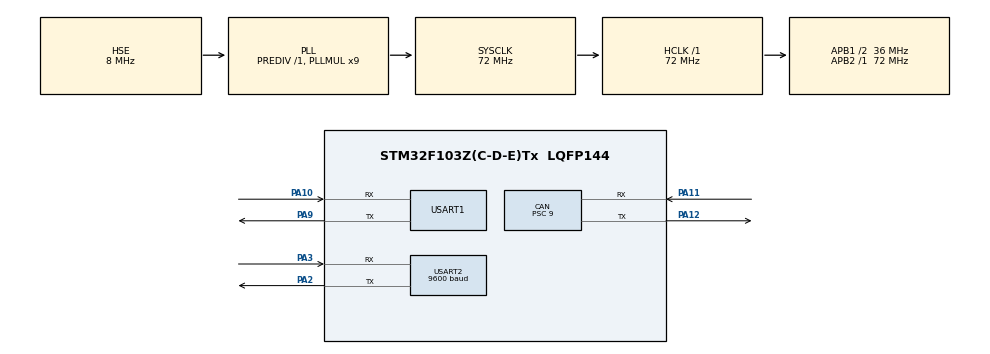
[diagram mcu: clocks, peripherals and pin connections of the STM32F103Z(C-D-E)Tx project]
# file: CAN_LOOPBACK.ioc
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CAN.BS1=CAN_BS1_5TQ
CAN.BS2=CAN_BS2_2TQ
CAN.CalculateBaudRate=500000
CAN.CalculateTimeBit=2000.00
CAN.CalculateTimeQuantum=250.0
CAN.Mode=CAN_MODE_LOOPBACK
CAN.Prescaler=9
Mcu.Family=STM32F1
Mcu.Name=STM32F103Z(C-D-E)Tx
Mcu.Package=LQFP144
NVIC.PriorityGroup=NVIC_PRIORITYGROUP_4
NVIC.USB_LP_CAN1_RX0_IRQn=true\:0\:0\:false\:false\:true\:true\:true
OSC_IN.Mode=HSE-External-Oscillator
OSC_IN.Signal=RCC_OSC_IN
OSC_OUT.Mode=HSE-External-Oscillator
OSC_OUT.Signal=RCC_OSC_OUT
PA10.Mode=Asynchronous
PA10.Signal=USART1_RX
PA11.Mode=CAN_Activate
PA11.Signal=CAN_RX
PA12.Mode=CAN_Activate
PA12.Signal=CAN_TX
PA13.Mode=Serial_Wire
PA13.Signal=SYS_JTMS-SWDIO
PA14.Mode=Serial_Wire
PA14.Signal=SYS_JTCK-SWCLK
PA2.Mode=Asynchronous
PA2.Signal=USART2_TX
PA3.Mode=Asynchronous
PA3.Signal=USART2_RX
PA9.Mode=Asynchronous
PA9.Signal=USART1_TX
ProjectManager.HeapSize=0x200
ProjectManager.StackSize=0x400
ProjectManager.TargetToolchain=MDK-ARM V5
RCC.AHBFreq_Value=72000000
RCC.APB1CLKDivider=RCC_HCLK_DIV2
RCC.APB1Freq_Value=36000000
RCC.APB1TimFreq_Value=72000000
RCC.APB2Freq_Value=72000000
RCC.APB2TimFreq_Value=72000000
RCC.HCLKFreq_Value=72000000
RCC.PLLMUL=RCC_PLL_MUL9
RCC.PLLSourceVirtual=RCC_PLLSOURCE_HSE
RCC.SYSCLKFreq_VALUE=72000000
RCC.SYSCLKSource=RCC_SYSCLKSOURCE_PLLCLK
RCC.USBFreq_Value=72000000
USART1.VirtualMode=VM_ASYNC
USART2.BaudRate=9600
USART2.VirtualMode=VM_ASYNC
board=custom

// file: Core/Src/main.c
/* ★ 2026-09-23 块D Day③ 核对版（可直接替换工程 Core\Src\main.c）
   相对原版的两处修正：
   1) HAL_Delay(1000) -> rx_count += DrainRx(1000) 并挪到 [STAT] 之前
      —— 命令帧不再憋 1 秒，收到立即回帧；命令帧也计入 rx 统计
   2) 整理 case 0x200 缩进、更新过时注释（不影响功能）
*/
#include "main.h"
#include "can.h"
#include "usart.h"
#include "gpio.h"

/* USER CODE BEGIN Includes */
#include <stdio.h>
#include <stdint.h>
#include <string.h>
#include <stdlib.h>
#include "gps_nmea.h"
/* USER CODE END Includes */

/* USER CODE BEGIN PV */
//新增结构体
typedef struct {
    float   lat;        /* 0x100 纬度    float  小端          */
    float   lon;        /* 0x101 经度    float  小端          */
    int16_t speed;      /* 0x102 车速    int16  大端 km/h     */
    int16_t temp_x10;   /* 0x103 温度x10 int16  大端 285=28.5C */
    int16_t acc_x;      /* 0x104 加速度X  int16 大端 0.01g    */
    int16_t acc_y;      /* 0x105 加速度Y  int16 大端 0.01g    */
    int16_t acc_z;      /* 0x106 加速度Z  int16 大端 0.01g    */
    uint8_t sat_num;    /* 0x107 数据[0] 卫星数               */
    uint8_t alarm_flag; /* 0x107 数据[1] 告警标志              */
}VehicleData;

static VehicleData g_vehicle = { 23.123456f, 113.123456f, 60, 285, 0, 0, 0, 8, 0 };
/* USER CODE END PV */

void SystemClock_Config(void);

/* USER CODE BEGIN PFP */
// ==================== 声明工具函数 ====================
void ShowFloatBytes(const char *name, float v);

uint8_t PackFloatLE(float v, uint8_t *out);
uint8_t PackInt16LE(int16_t v, uint8_t *out);
uint8_t PackInt16BE(int16_t v, uint8_t *out);

float UnpackFloatLE(const uint8_t *in);
float UnpackFloatLE_WRONG(const uint8_t *in);
int16_t UnpackInt16LE(const uint8_t *in);
int16_t UnpackInt16BE(const uint8_t *in);

void TestPackUnpack(void);

// ==================== CAN 驱动层函数（★ 新增声明）====================
// DrainRx 和下面四个发送函数都要用到它们，先声明再定义，避免隐式声明
uint8_t CAN_Send(uint32_t id, uint8_t *data, uint8_t len);
uint8_t CAN_PollReceive(void);

// ==================== 声明协议发送函数 (块E day1 ：改为无参直读 g_vehicle)====================
uint8_t CAN_SendLatitude(void);                          /* 0x100 float 小端      */
uint8_t CAN_SendLongitude(void);                         /* 0x101 float 小端      */
uint8_t CAN_SendSpeed(void);                             /* 0x102 int16 大端      */
uint8_t CAN_SendTempX10(void);                           /* 0x103 int16 大端 x10  */
uint8_t CAN_SendAccAxis(uint32_t id, int16_t acc_g100);  /* 0x104/105/106 共用    */
uint8_t CAN_SendSatInfo(void);                           /* 0x107 卫星数+告警标志 */
uint8_t CAN_ReportGps(void);                             /* 1秒组 4帧             */
uint8_t CAN_ReportAcc(void);                             /* 100ms组 3帧(Day②用)   */
uint8_t CAN_ReportAll(void);                             /* 整包 8帧              */
void Sensor_Update(void);                                /* 模拟数据源(KP-E7)     */
// ==================== ★ Day② 新增: 数据源分档 + 按键 + 告警 ====================
void Key_Init(void);                //KEY0=PE4输入
void UpdateGps(void);               /* 下面三个改由 main 调度直接调 */
void UpdateAcc(void);
void UpdateTemp(void);
uint8_t CAN_SendAlarm(int16_t acc_g100);         /* 0x300 事件帧 */

// ==================== 声明接收解析函数 ====================
void CAN_ProcessRx(CAN_RxHeaderTypeDef *rx_header, uint8_t *rx_data);
/* USER CODE END PFP */

/* USER CODE BEGIN 0 */
// ==================== 实验开关 ====================
#define FILTER_GPS_ONLY   0      /* 0 = 过滤器全通过（块D 用）；1 = 只放行 0x100~0x103 */
#define RX_PRINT_FULL     1      /* 1 = 完整打印（约 5ms/行）；0 = 精简打印（约 2.2ms/行）*/
#define GPS_TEST          1      /* ★块F: 1 = GPS透传测试(USART2收->USART1打); 0 = 恢复正常CAN业务 */

// ==================== 重定向 printf 到 UART1 ====================
int fputc(int ch, FILE *f)
{
    HAL_UART_Transmit(&huart1, (uint8_t *)&ch, 1, 100);
    return ch;
}

CAN_TxHeaderTypeDef tx_header;

uint32_t tx_mailbox;
/* ★ 旧散装全局 g_lat/g_lon/g_spd/g_tmp 已删除 —— 状态统一在 PV 区的 g_vehicle 里 */

void CAN_Start(void)
{
    CAN_FilterTypeDef filter = {0};      /* ★ 必须清零：FilterBank 也要有确定值 */

    filter.FilterBank           = 0;
    filter.FilterMode           = CAN_FILTERMODE_IDMASK;        /* 掩码模式 */
    filter.FilterScale          = CAN_FILTERSCALE_32BIT;        /* 32 位 */
    filter.FilterFIFOAssignment = CAN_RX_FIFO0;
    filter.FilterActivation     = ENABLE;                       /* 漏了它 = 一帧都收不到 */
    filter.SlaveStartFilterBank = 14;

    if (FILTER_GPS_ONLY) {
        filter.FilterIdHigh     = (0x100 << 5);   /* = 0x2000  期望 ID = 0x100 */
        filter.FilterMaskIdHigh = (0x7FC << 5);   /* = 0xFF80  比较 bit10~bit2 */
    } else {
        filter.FilterIdHigh     = 0x0000;
        filter.FilterMaskIdHigh = 0x0000;         /* 掩码全 0 -> 全放行 */
    }
    filter.FilterIdLow      = 0x0000;             /* 32 位模式下标准帧只用 High 这半 */
    filter.FilterMaskIdLow  = 0x0000;
    /* ★ 每个字段只赋值一次：老代码里那四行重复的全 0 赋值会把上面 FILTER_GPS_ONLY
       的结果覆盖回「全通过」——已经删掉，别再抄回来。 */

    if (HAL_CAN_ConfigFilter(&hcan, &filter) != HAL_OK) {
        printf("[ERR] ConfigFilter failed\r\n");
        Error_Handler();                 /* 配不上就别往下跑，否则后面全是假现象 */
    }
    if (HAL_CAN_Start(&hcan) != HAL_OK) {
        printf("[ERR] CAN_Start failed!\r\n");
        Error_Handler();
    }

    printf("\r\n===== CAN_LOOPBACK | Mode=%s | Filter=%s | Built %s %s =====\r\n",
           (hcan.Init.Mode == CAN_MODE_LOOPBACK) ? "LOOPBACK" : "NORMAL",
           (filter.FilterActivation == ENABLE) ? "ENABLE" : "DISABLE",
           __DATE__, __TIME__);

    printf("[INIT] IER=0x%08lX BTR=0x%08lX RF0R=0x%08lX\r\n",
           hcan.Instance->IER, hcan.Instance->BTR, hcan.Instance->RF0R);

    printf("Filter: IdHigh=0x%04X MaskHigh=0x%04X -> %s\r\n",
           filter.FilterIdHigh, filter.FilterMaskIdHigh,
           (filter.FilterMaskIdHigh == 0) ? "PASS-ALL" : "ONLY 0x100~0x103");
}

uint8_t CAN_Send(uint32_t id, uint8_t *data, uint8_t len)
{
    if (len > 8) return 1;

    tx_header.StdId = id;
    tx_header.IDE   = CAN_ID_STD;
    tx_header.RTR   = CAN_RTR_DATA;
    tx_header.DLC   = len;

    uint32_t t0 = HAL_GetTick();
    while (HAL_CAN_GetTxMailboxesFreeLevel(&hcan) == 0) {
        if (HAL_GetTick() - t0 > 10) {
            printf("[CAN] Mailbox full!\r\n");
            return 1;
        }
    }

    return (HAL_CAN_AddTxMessage(&hcan, &tx_header, data, &tx_mailbox) == HAL_OK) ? 0 : 1;
}

uint8_t CAN_PollReceive(void)
{
    CAN_RxHeaderTypeDef rx_header;
    uint8_t rx_data[8];

    if (HAL_CAN_GetRxFifoFillLevel(&hcan, CAN_RX_FIFO0) == 0)
        return 0;

    if (HAL_CAN_GetRxMessage(&hcan, CAN_RX_FIFO0, &rx_header, rx_data) != HAL_OK)
        return 0;

    // 收到数据后调用解析函数处理
    CAN_ProcessRx(&rx_header, rx_data);
    return 1;
}

/* ================= 接收节奏：在 ms 毫秒内把 FIFO 取空 =================
 * ★ 位置：必须放在 CAN_PollReceive() 之后（上一版放在最前面 -> 隐式声明报错）
 * 用法：发一帧 -> DrainRx(3) -> 再发下一帧
 * 这样任何时刻 FIFO0 里最多只有 1 帧，永远撞不到「3 格满 -> 硬件静默丢帧」。
 */
static uint8_t DrainRx(uint32_t ms)
{
    uint8_t  n  = 0;
    uint32_t t0 = HAL_GetTick();
    while (HAL_GetTick() - t0 < ms) {
        if (CAN_PollReceive() != 0) n++;
        else HAL_Delay(1);
    }
    return n;
}
/* ==================== ★ Day② 新增: KEY0 与急刹判据 ==================== */

/* KEY0 = PE4, 按下=低。★ 工程原本只开了 GPIOA 时钟, PE 必须自己开!
   (不调 Key_Init 就读 PE4: GPIOE 时钟未开读回 0 = 被当成"永远按下") */

void Key_Init(void)
{
    __HAL_RCC_GPIOE_CLK_ENABLE();

    GPIO_InitTypeDef g = {0};
    g.Pin   = GPIO_PIN_4;
    g.Mode  = GPIO_MODE_INPUT;
    g.Pull  = GPIO_PULLUP;      //按下低电平
    HAL_GPIO_Init(GPIOE,&g);
}

#if !GPS_TEST
/* 整数开方(牛顿迭代) —— 免 math.h 依赖, 合加速度 = √(x²+y²+z²) */
static int32_t isqrt32(int32_t x)
{
    int32_t r = x;
    if (x <= 0) return 0;
    for (;;) {
        int32_t nr = (r + x / r) / 2;
        if (nr >= r) return r;          /* 收敛到 floor(sqrt(x)) */
        r = nr;
    }
}

/* 急刹判据: 返回合加速度平方(单位 (0.01g)²)。
   >1.8g  ⟺  平方和 > 180² = 32400 (不开方就能判, 嵌入式常用技巧)
   KEY0 按下 = 强制注入 -2.00g, 验收时按一下必出告警 */
static int32_t BrakeAccSq100(void)
{
    if (HAL_GPIO_ReadPin(GPIOE, GPIO_PIN_4) == GPIO_PIN_RESET) {
        g_vehicle.acc_x = -200;         /* 注入 -2.00g */
    }
    return (int32_t)g_vehicle.acc_x * g_vehicle.acc_x
         + (int32_t)g_vehicle.acc_y * g_vehicle.acc_y
         + (int32_t)g_vehicle.acc_z * g_vehicle.acc_z;
}
#endif /* !GPS_TEST: 透传模式下 CAN 调度不编译, 两个 static 函数无引用 */

/* USER CODE END 0 */

int main(void)
{

  HAL_Init();

  SystemClock_Config();

  MX_GPIO_Init();
  /* ★排错探针1: 点亮LED0(PB5) —— 灯亮 = HAL_Init/SystemClock/GPIO 全部活着 */
  __HAL_RCC_GPIOB_CLK_ENABLE();
  {
    GPIO_InitTypeDef led = {0};
    led.Pin = GPIO_PIN_5; led.Mode = GPIO_MODE_OUTPUT_PP; led.Speed = GPIO_SPEED_FREQ_LOW;
    HAL_GPIO_Init(GPIOB, &led);
    HAL_GPIO_WritePin(GPIOB, GPIO_PIN_5, GPIO_PIN_RESET);   /* 低电平亮 */
  }
  MX_CAN_Init();
  MX_USART1_UART_Init();
  printf("p1: usart1 ok\r\n");
  MX_USART2_UART_Init();
  printf("p2: usart2 ok\r\n");

  /* USER CODE BEGIN 2 */
  CAN_Start();
    printf("=== CAN Sensor Node ((multi-rate + alarm)) ===\r\n");

  // 执行打包解包测试
  TestPackUnpack();
  TestNmea();
  Key_Init();               /* ★ KEY0 就绪(必须在读 PE4 之前) */

  #if GPS_TEST
  GPS_UART_Init(&huart2);   /* ★块G Day50:启动GPS串口中断接收 */
#endif

   /* ★ 分周期调度的状态变量 —— 必须放在 while(1) 之前! */
#if !GPS_TEST
  uint32_t t_acc = 0,t_gps = 0,t_temp = 0;  /* 三档节拍 */
  uint32_t t_alarm = 0,t_stat = 0;          /* 告警冷却 / 统计节拍 */
  uint8_t  err_gps = 0,err_acc = 0,err_tmp = 0;     /* 本秒发送错误累计 */
  int      rx_cnt  = 0;
#endif

  /* USER CODE END 2 */

  /* Infinite loop */
  /* USER CODE BEGIN WHILE */
  while (1)
        {
#if GPS_TEST
    /* ---- ★块F GPS透传测试: USART2(9600)收到什么, 原样从 USART1(115200) 打出 ---- */
            char line[100];
    if (GPS_PopLine(line, sizeof(line))) {
        printf("RAW:%s\r\n", line);          /* 原始语句:人工对数用 */
        GPS_ParseLine(line);
        printf("[GPS] valid=%d lat=%.6f lon=%.6f spd=%.1f sat=%d\r\n",
               g_gps.valid, g_gps.latitude, g_gps.longitude,
               g_gps.speed_kmh, g_gps.satellites);
    }
#else
    uint32_t now = HAL_GetTick();                   /* ★ 时间基准每圈取一次 */

    /* ---- 100ms 档: 加速度 3 帧 ---- */
    if (now - t_acc >= 100) {
        t_acc = now;
        UpdateAcc();
        err_acc |= CAN_ReportAcc();
    }

    /* ---- 1s 档: GPS类 + 车速 + 卫星 4 帧 ---- */
    if (now - t_gps >= 1000) {
        t_gps = now;
        UpdateGps();
        printf("[TX] lat=%.6f lon=%.6f spd=%d sat=%d flag=%d\r\n",
               g_vehicle.lat, g_vehicle.lon, g_vehicle.speed,
               g_vehicle.sat_num, g_vehicle.alarm_flag);
        err_gps |= CAN_ReportGps();
    }

    /* ---- 2s 档: 温度 1 帧 ---- */
    if (now - t_temp >= 2000) {
        t_temp = now;
        UpdateTemp();
        if (CAN_SendTempX10() != 0) err_tmp = 1;
        DrainRx(3);
    }

    /* ---- 事件档: 急刹 → 0x300(平时不发, KP-E5); 1 秒冷却防连发 ---- */
    int32_t sq = BrakeAccSq100();
    if (sq > 32400L && (now - t_alarm >= 1000)) {
        t_alarm = now;
        g_vehicle.alarm_flag = 1;
        CAN_SendAlarm((int16_t)isqrt32(sq));
        printf("[ALARM] 0x300 sent, acc=%d.%02dg\r\n", isqrt32(sq) / 100, isqrt32(sq) % 100);
    }
    if (g_vehicle.alarm_flag != 0 && (now - t_alarm >= 5000)) {
        g_vehicle.alarm_flag = 0;                   /* 告警标志 5 秒后自动清除 */
    }

    /* ---- 接收窗口常开: 0x200 命令随到随回 ---- */
    rx_cnt += DrainRx(1);

    /* ---- 每秒一次统计(替代原 [STAT] 节奏) ---- */
    if (now - t_stat >= 1000) {
        t_stat = now;
        printf("[STAT] rx=%d err_gps=0x%02X err_acc=0x%02X err_tmp=%u\r\n",
               rx_cnt, err_gps, err_acc, err_tmp);
        rx_cnt = 0; err_gps = 0; err_acc = 0; err_tmp = 0;
    }
#endif
  }
  /* USER CODE END WHILE */

}

void SystemClock_Config(void)
{
  RCC_OscInitTypeDef RCC_OscInitStruct = {0};
  RCC_ClkInitTypeDef RCC_ClkInitStruct = {0};

  RCC_OscInitStruct.OscillatorType = RCC_OSCILLATORTYPE_HSE;
  RCC_OscInitStruct.HSEState = RCC_HSE_ON;
  RCC_OscInitStruct.HSEPredivValue = RCC_HSE_PREDIV_DIV1;
  RCC_OscInitStruct.HSIState = RCC_HSI_ON;
  RCC_OscInitStruct.PLL.PLLState = RCC_PLL_ON;
  RCC_OscInitStruct.PLL.PLLSource = RCC_PLLSOURCE_HSE;
  RCC_OscInitStruct.PLL.PLLMUL = RCC_PLL_MUL9;
  if (HAL_RCC_OscConfig(&RCC_OscInitStruct) != HAL_OK) { Error_Handler(); }

  RCC_ClkInitStruct.ClockType = RCC_CLOCKTYPE_HCLK | RCC_CLOCKTYPE_SYSCLK |
                                RCC_CLOCKTYPE_PCLK1 | RCC_CLOCKTYPE_PCLK2;
  RCC_ClkInitStruct.SYSCLKSource   = RCC_SYSCLKSOURCE_PLLCLK;
  RCC_ClkInitStruct.AHBCLKDivider  = RCC_SYSCLK_DIV1;
  RCC_ClkInitStruct.APB1CLKDivider = RCC_HCLK_DIV2;
  RCC_ClkInitStruct.APB2CLKDivider = RCC_HCLK_DIV1;
  if (HAL_RCC_ClockConfig(&RCC_ClkInitStruct, FLASH_LATENCY_2) != HAL_OK) { Error_Handler(); }
}

/* USER CODE BEGIN 4 */
// ==================== 协议发送层(KP-E1/E2: 直读 g_vehicle, 无参) ====================
// 0x100 纬度 (4B float 小端)
uint8_t CAN_SendLatitude(void)
{
    uint8_t data[8] = {0};
    PackFloatLE(g_vehicle.lat, data);
    return CAN_Send(0x100, data, 4);
}

// 0x101 经度 (4B float 小端)
uint8_t CAN_SendLongitude(void)
{
    uint8_t data[8] = {0};
    PackFloatLE(g_vehicle.lon, data);
    return CAN_Send(0x101, data, 4);
}

// 0x102 车速 (2B int16 大端)
uint8_t CAN_SendSpeed(void)
{
    uint8_t data[8] = {0};
    PackInt16BE(g_vehicle.speed, data);
    return CAN_Send(0x102, data, 2);
}

// 0x103 温度 (2B int16 大端, 结构体里已是 x10 整数, 不再四舍五入)
uint8_t CAN_SendTempX10(void)
{
    uint8_t data[8] = {0};
    PackInt16BE(g_vehicle.temp_x10, data);
    return CAN_Send(0x103, data, 2);
}

// 0x104/0x105/0x106 加速度 XYZ 共用 (2B int16 大端, 单位 0.01g)
uint8_t CAN_SendAccAxis(uint32_t id, int16_t acc_g100)
{
    uint8_t data[8] = {0};
    PackInt16BE(acc_g100, data);
    return CAN_Send(id, data, 2);
}

// 0x107 卫星数 + 告警标志 (2B: data[0]=卫星数, data[1]=标志)
uint8_t CAN_SendSatInfo(void)
{
    uint8_t data[8] = {0};
    data[0] = g_vehicle.sat_num;
    data[1] = g_vehicle.alarm_flag;
    return CAN_Send(0x107, data, 2);
}

// ★ 0x300 告警帧 (2B int16 大端, 数据 = 合加速度 x100) —— 事件触发, KP-E5
uint8_t CAN_SendAlarm(int16_t acc_g100)
{
    uint8_t data[8] = {0};
    PackInt16BE(acc_g100,data);
    return CAN_Send(0x300,data,2);
}

// ==================== ★ 分组上报(KP-E6) ====================

/* 1 秒组 4 帧: 0x100/0x101/0x102/0x107 —— 返回错误位图 bit0~3 */
uint8_t CAN_ReportGps(void)
{
    uint8_t err = 0;
    if (CAN_SendLatitude()  != 0) err |= (1U << 0);
    DrainRx(3);                                   /* 帧间隔 + FIFO防积压(KP-E3) */
    if (CAN_SendLongitude() != 0) err |= (1U << 1);
    DrainRx(3);
    if (CAN_SendSpeed()     != 0) err |= (1U << 2);
    DrainRx(3);
    if (CAN_SendSatInfo()   != 0) err |= (1U << 3);
    DrainRx(3);
    return err;
}

/* 100ms 组 3 帧: 0x104/0x105/0x106 —— 返回错误位图 bit0~2 (Day② 调度用) */
uint8_t CAN_ReportAcc(void)
{
    uint8_t err = 0;
    if (CAN_SendAccAxis(0x104, g_vehicle.acc_x) != 0) err |= (1U << 0);
    DrainRx(3);
    if (CAN_SendAccAxis(0x105, g_vehicle.acc_y) != 0) err |= (1U << 1);
    DrainRx(3);
    if (CAN_SendAccAxis(0x106, g_vehicle.acc_z) != 0) err |= (1U << 2);
    DrainRx(3);
    return err;
}

/* ★ 整包 8 帧: bit0~3=GPS组, bit4=温度, bit5~7=加速度组 */
uint8_t CAN_ReportAll(void)
{
    uint8_t err = CAN_ReportGps();
    if (CAN_SendTempX10() != 0) err |= (1U << 4);
    DrainRx(3);
    err |= (uint8_t)(CAN_ReportAcc() << 5);
    return err;
}

// ==================== ★ 模拟数据源(KP-E7: Day46 换真传感器只动这一段) ====================

void UpdateGps(void)
{
    g_vehicle.lat += (rand() % 10 - 5) / 100000.0f;   /* ±0.00005 漂移 */
    g_vehicle.lon += (rand() % 10 - 5) / 100000.0f;
    g_vehicle.speed += (rand() % 7 - 3);              /* ±3 km/h */
    if (g_vehicle.speed < 0)   g_vehicle.speed = 0;
    if (g_vehicle.speed > 120) g_vehicle.speed = 120;
}

void UpdateTemp(void)
{
    g_vehicle.temp_x10 += (rand() % 5 - 2);           /* ±0.2C */
    if (g_vehicle.temp_x10 < 150) g_vehicle.temp_x10 = 150;   /* 15.0C 下限 */
    if (g_vehicle.temp_x10 > 450) g_vehicle.temp_x10 = 450;   /* 45.0C 上限 */
}

void UpdateAcc(void)
{
    g_vehicle.acc_x = g_vehicle.acc_x * 9 / 10 + (rand() % 21 - 10);   /* 回中 + ±0.10g 抖动 */
    g_vehicle.acc_y = g_vehicle.acc_y * 9 / 10 + (rand() % 21 - 10);
    g_vehicle.acc_z = g_vehicle.acc_z * 9 / 10 + (rand() % 21 - 10);

    /* ★ 约 1% 概率自然急刹模拟(100ms一档 ≈ 每10秒一次), 告警不必只靠按键 */
    if(rand() % 100 == 0) {
        g_vehicle.acc_x = -(120 + rand() % 81);
    }
}

/* 一次全更新(Day② 会拆成三档分别调用) */
void Sensor_Update(void)
{
    UpdateGps();
    UpdateAcc();
    UpdateTemp();
}

// ==================== 接收解析函数 ====================
void CAN_ProcessRx(CAN_RxHeaderTypeDef *rx_header, uint8_t *rx_data)
{
#if RX_PRINT_FULL
    /* ---- 完整版：一行约 60 字符 ≈ 5ms @115200 ---- */
    printf("[RX] ID=0x%03X DLC=%d Data: ", rx_header->StdId, rx_header->DLC);
    for (int i = 0; i < rx_header->DLC; i++) printf("%02X ", rx_data[i]);
    printf(" -> ");
    switch (rx_header->StdId)
    {
        case 0x100: printf("lat = %.6f\r\n", UnpackFloatLE(rx_data));          break;
        case 0x101: printf("lon = %.6f\r\n", UnpackFloatLE(rx_data));          break;
        case 0x102: printf("speed = %d\r\n", UnpackInt16BE(rx_data));          break;
        case 0x103: printf("temp = %.1f\r\n", UnpackInt16BE(rx_data) / 10.0f); break;
        case 0x200:                        /* ★ 命令帧：PCAN 发 0x200 / 0x01 请求数据 */
            if (rx_header->DLC >= 1 && rx_data[0] == 0x01) {
                printf("cmd 0x200/01 -> reply latest data\r\n");
                CAN_SendLatitude();
                CAN_SendLongitude();
                CAN_SendSpeed();
                CAN_SendTempX10();
            } else {
                printf("unknown command\r\n");
            }
            break;
        default:    printf("unknown ID\r\n");                                  break;
    }
#else
    /* ---- 精简版：一行约 25 字符 ≈ 2.2ms，做 A/B 对照用 ---- */
    printf("[RX] 0x%03X L=%d -> ", rx_header->StdId, rx_header->DLC);
    switch (rx_header->StdId)
    {
        case 0x100: printf("lat=%.6f\r\n", UnpackFloatLE(rx_data));           break;
        case 0x101: printf("lon=%.6f\r\n", UnpackFloatLE(rx_data));           break;
        case 0x102: printf("spd=%d\r\n", UnpackInt16BE(rx_data));             break;
        case 0x103: printf("tmp=%.1f\r\n", UnpackInt16BE(rx_data) / 10.0f);   break;
        case 0x200:                        /* ★ 命令帧：PCAN 发 0x200 / 0x01 请求数据 */
            if (rx_header->DLC >= 1 && rx_data[0] == 0x01) {
                printf("cmd 0x200/01 -> reply latest data\r\n");
                CAN_SendLatitude(g_lat);
                CAN_SendLongitude(g_lon);
                CAN_SendSpeed(g_spd);
                CAN_SendTemperature(g_tmp);
            } else {
                printf("unknown command\r\n");
            }
            break;
        default:    printf("unknown\r\n");                                     break;
    }
#endif
}

// ==================== 工具函数实现区 ====================

void ShowFloatBytes(const char *name, float v)
{
    union { float f; uint8_t b[4]; } u;
    u.f = v;
    printf("%s -> %02X %02X %02X %02X\r\n", name, u.b[0], u.b[1], u.b[2], u.b[3]);
}

uint8_t PackFloatLE(float v, uint8_t *out)
{
    union { float f; uint8_t b[4]; } u;
    u.f = v;
    out[0] = u.b[0]; out[1] = u.b[1];
    out[2] = u.b[2]; out[3] = u.b[3];
    return 4;
}

// 小端打包 int16（仅作对照，协议里 int16 一律用大端）
uint8_t PackInt16LE(int16_t v, uint8_t *out)
{
    out[0] = (uint8_t)(v & 0xFF);
    out[1] = (uint8_t)((v >> 8) & 0xFF);
    return 2;
}

// 大端打包 int16（协议在用）
uint8_t PackInt16BE(int16_t v, uint8_t *out)
{
    uint16_t u = (uint16_t)v;       /* 显式无符号，不依赖「负数右移」的实现定义：-50 -> 0xFFCE */
    out[0] = (uint8_t)((u >> 8) & 0xFF);
    out[1] = (uint8_t)(u & 0xFF);
    return 2;
}

float UnpackFloatLE(const uint8_t *in)
{
    union { float f; uint8_t b[4]; } u;
    u.b[0] = in[0]; u.b[1] = in[1];
    u.b[2] = in[2]; u.b[3] = in[3];
    return u.f;
}

// 故意用大端解包, 用于对比错误字节序（教学用）
float UnpackFloatLE_WRONG(const uint8_t *in)
{
    float v; uint8_t tmp[4] = { in[3], in[2], in[1], in[0] };
    memcpy(&v, tmp, 4);
    return v;
}

// 小端解包 int16（仅作对照）
int16_t UnpackInt16LE(const uint8_t *in)
{
    return (int16_t)((in[1] << 8) | in[0]);
}

// 大端解包 int16（协议在用）
int16_t UnpackInt16BE(const uint8_t *in)
{
    return (int16_t)((in[0] << 8) | in[1]);
}

void TestPackUnpack(void)
{
    uint8_t buf[8];
    float  f_in = 23.123456f, f_out;
    int16_t i_in = -50, i_out;
    ShowFloatBytes("100.0f", 100.0f);       /* 应打印 00 00 C8 42 */

    PackFloatLE(f_in, buf);
    f_out = UnpackFloatLE(buf);
    printf("float : %.6f -> %02X %02X %02X %02X -> %.6f  %s\r\n",
           f_in, buf[0], buf[1], buf[2], buf[3], f_out,
           (f_in == f_out) ? "OK" : "ERR");

    // 故意用大端解包, 看错误字节序长什么样
    float f_wrong = UnpackFloatLE_WRONG(buf);
    printf("wrong : %.6f -> %02X %02X %02X %02X -> %.6f  ERR!\r\n",
           f_in, buf[0], buf[1], buf[2], buf[3], f_wrong);

    // 测试大端
    PackInt16BE(i_in, buf);
    i_out = UnpackInt16BE(buf);
    printf("int16 BE: %d -> %02X %02X -> %d  %s\r\n",
           i_in, buf[0], buf[1], i_out, (i_in == i_out) ? "OK" : "ERR");
}
/* USER CODE END 4 */

void Error_Handler(void)
{
  __disable_irq();
  while (1) { }
}
